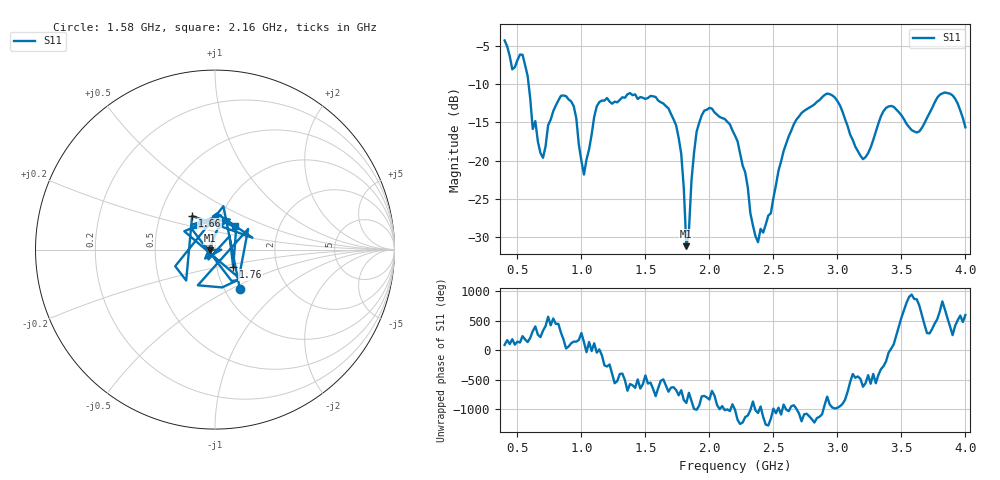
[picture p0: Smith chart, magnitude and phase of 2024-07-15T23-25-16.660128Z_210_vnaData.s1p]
!Created with skrf (http://scikit-rf.org).
# Hz S RI R 50.0
!freq ReS11 ImS11
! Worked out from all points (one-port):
!   181 points, 400 MHz to 4 GHz, reference 50 ohm
!   lowest |S11| = -31.2 dB at 1.82 GHz (marker M1), VSWR 1.06, Z = 47.3 - j0.303 ohm
!   |S11| at or under -10 dB: 587.1 MHz to end of sweep
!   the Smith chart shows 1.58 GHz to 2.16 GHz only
!   S11 on the Smith chart (normalised r, x): 1.58 GHz: 1.18, -0.56; 1.66 GHz: 0.73, +0.29; 1.76 GHz: 1.20, -0.24; 2.16 GHz: 1.21, +0.32
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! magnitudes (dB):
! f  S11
! 400 MHz  -4.3
! 460 MHz  -8.1
! 540 MHz  -6.2
! 620 MHz  -15.9
! 700 MHz  -19.6
! 860 MHz  -11.5
! 940 MHz  -12.9
! 1.02 GHz  -21.8
! 1.12 GHz  -12.9
! 1.3 GHz  -12.1
! 1.58 GHz  -11.7
! 1.66 GHz  -12.9
! 1.76 GHz  -17.0
! 1.8 GHz  -23.6
! 1.82 GHz  -31.2
! 1.88 GHz  -19.0
! 1.94 GHz  -14.1
! 2.16 GHz  -15.3
! 2.2 GHz  -16.8
! 2.38 GHz  -30.6
! 2.66 GHz  -15.3
! 2.92 GHz  -11.3
! 3.1 GHz  -16.6
! 3.2 GHz  -19.8
! 3.38 GHz  -13.1
! 3.56 GHz  -15.6
! 3.84 GHz  -11.1
! 4 GHz  -15.7
